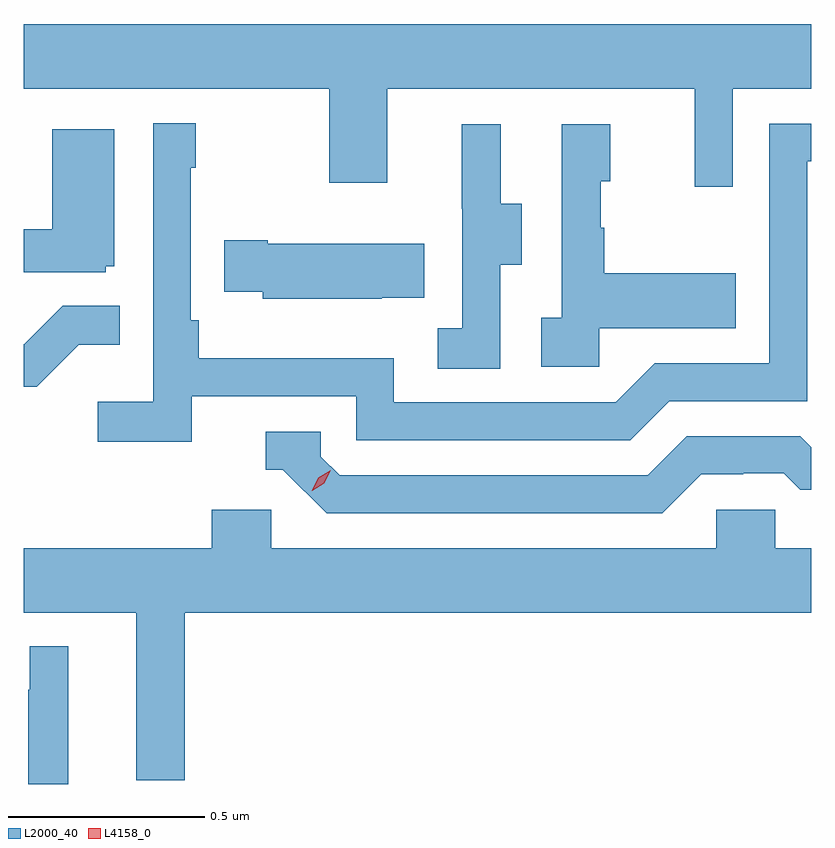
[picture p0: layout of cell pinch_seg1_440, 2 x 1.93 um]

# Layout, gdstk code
import gdstk
lib = gdstk.Library(unit=1e-6, precision=1e-09)
def P(c, l, *ps):  # polygons
    for p in ps: c.add(gdstk.Polygon(p, *l))
L2000_40 = (2000, 40)
L4158_0 = (4158, 0)

pinch_seg1_440 = lib.new_cell('pinch_seg1_440')
P(pinch_seg1_440, L2000_40, [(950.733,521.096),(950.932,521.096),(950.932,521.26),(948.932,521.26),(948.932,521.096),(949.708,521.096),(949.708,520.857),(949.855,520.857),(949.855,521.096),(950.636,521.096),(950.636,520.847),(950.733,520.847)],
  [(949.358,520.314),(949.776,520.314),(949.776,520.203),(950.473,520.203),(950.572,520.302),(950.922,520.302),(950.922,520.911),(950.932,520.911),(950.932,521.007),(950.826,521.007),(950.826,520.398),(950.535,520.398),(950.436,520.299),(949.872,520.299),(949.872,520.411),(949.376,520.411),(949.376,520.507),(949.356,520.507),(949.356,520.895),(949.369,520.895),(949.369,521.008),(949.26,521.008),(949.26,520.3),(949.119,520.3),(949.119,520.198),(949.358,520.198)],
  [(950.394,520.487),(950.741,520.487),(950.741,520.627),(950.407,520.627),(950.407,520.742),(950.397,520.742),(950.397,520.86),(950.422,520.86),(950.422,521.005),(950.298,521.005),(950.298,520.514),(950.247,520.514),(950.247,520.389),(950.394,520.389)],
  [(950.142,520.648),(950.197,520.648),(950.197,520.803),(950.143,520.803),(950.143,521.005),(950.045,521.005),(950.045,520.791),(950.046,520.791),(950.046,520.487),(949.983,520.487),(949.983,520.384),(950.142,520.384)],
  [(949.14,520.644),(949.162,520.644),(949.162,520.993),(949.004,520.993),(949.004,520.738),(948.932,520.738),(948.932,520.629),(949.14,520.629)],
  [(949.841,520.565),(949.949,520.565),(949.949,520.702),(949.552,520.702),(949.552,520.71),(949.441,520.71),(949.441,520.58),(949.539,520.58),(949.539,520.562),(949.841,520.562)],
  [(949.071,520.445),(949.175,520.445),(949.175,520.544),(949.031,520.544),(948.933,520.446),(948.932,520.446),(948.932,520.338),(948.964,520.338)],
  [(950.653,520.116),(950.76,520.116),(950.76,520.119),(950.863,520.119),(950.905,520.077),(950.932,520.077),(950.932,520.185),(950.905,520.212),(950.616,520.212),(950.517,520.113),(949.734,520.113),(949.686,520.161),(949.686,520.224),(949.547,520.224),(949.547,520.128),(949.59,520.128),(949.701,520.017),(950.554,520.017)],
  [(949.34,519.764),(950.932,519.764),(950.932,519.928),(950.841,519.928),(950.841,520.026),(950.691,520.026),(950.691,519.928),(949.56,519.928),(949.56,520.026),(949.409,520.026),(949.409,519.928),(948.932,519.928),(948.932,519.764),(949.217,519.764),(949.217,519.339),(949.34,519.339)],
  [(949.045,519.679),(948.947,519.679),(948.947,519.569),(948.943,519.569),(948.943,519.329),(949.045,519.329)])
P(pinch_seg1_440, L4158_0, [(949.663,520.074),(949.663,520.074),(949.68,520.107),(949.711,520.126),(949.711,520.126),(949.711,520.126),(949.695,520.093),(949.664,520.074)])

lib.write_gds('pinch_seg1_440.gds')
